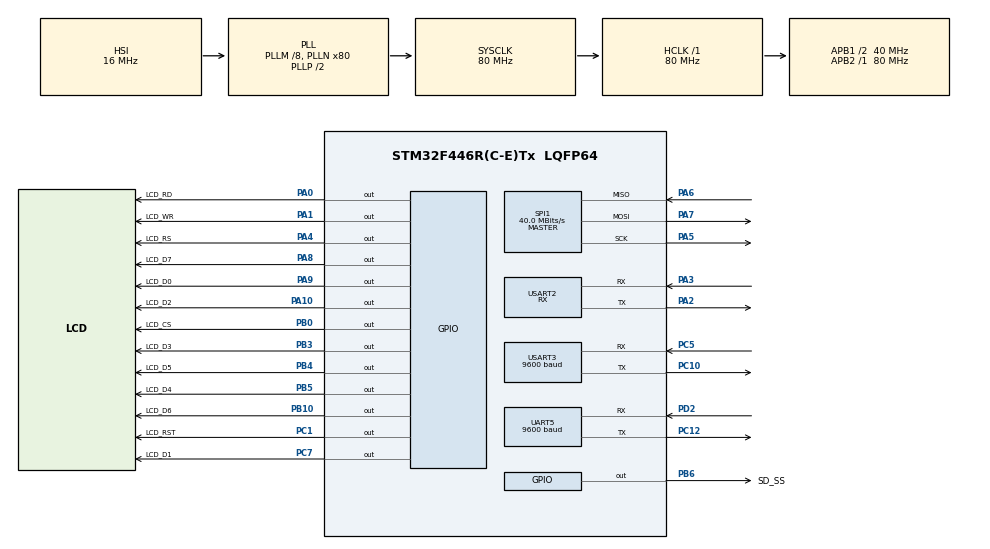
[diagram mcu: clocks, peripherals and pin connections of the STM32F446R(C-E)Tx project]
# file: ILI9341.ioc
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Dma.Request0=USART3_RX
Dma.Request1=USART2_RX
Dma.Request2=UART5_RX
Dma.UART5_RX.2.Direction=DMA_PERIPH_TO_MEMORY
Dma.UART5_RX.2.FIFOMode=DMA_FIFOMODE_DISABLE
Dma.UART5_RX.2.Instance=DMA1_Stream0
Dma.UART5_RX.2.MemDataAlignment=DMA_MDATAALIGN_BYTE
Dma.UART5_RX.2.MemInc=DMA_MINC_ENABLE
Dma.UART5_RX.2.Mode=DMA_CIRCULAR
Dma.UART5_RX.2.PeriphDataAlignment=DMA_PDATAALIGN_BYTE
Dma.UART5_RX.2.PeriphInc=DMA_PINC_DISABLE
Dma.UART5_RX.2.Priority=DMA_PRIORITY_LOW
Dma.USART2_RX.1.Direction=DMA_PERIPH_TO_MEMORY
Dma.USART2_RX.1.FIFOMode=DMA_FIFOMODE_DISABLE
Dma.USART2_RX.1.Instance=DMA1_Stream5
Dma.USART2_RX.1.MemDataAlignment=DMA_MDATAALIGN_BYTE
Dma.USART2_RX.1.MemInc=DMA_MINC_ENABLE
Dma.USART2_RX.1.Mode=DMA_NORMAL
Dma.USART2_RX.1.PeriphDataAlignment=DMA_PDATAALIGN_BYTE
Dma.USART2_RX.1.PeriphInc=DMA_PINC_DISABLE
Dma.USART2_RX.1.Priority=DMA_PRIORITY_LOW
Dma.USART3_RX.0.Direction=DMA_PERIPH_TO_MEMORY
Dma.USART3_RX.0.FIFOMode=DMA_FIFOMODE_DISABLE
Dma.USART3_RX.0.Instance=DMA1_Stream1
Dma.USART3_RX.0.MemDataAlignment=DMA_MDATAALIGN_BYTE
Dma.USART3_RX.0.MemInc=DMA_MINC_ENABLE
Dma.USART3_RX.0.Mode=DMA_CIRCULAR
Dma.USART3_RX.0.PeriphDataAlignment=DMA_PDATAALIGN_BYTE
Dma.USART3_RX.0.PeriphInc=DMA_PINC_DISABLE
Dma.USART3_RX.0.Priority=DMA_PRIORITY_LOW
FATFS._MAX_SS=4096
FATFS._USE_LFN=1
Mcu.Family=STM32F4
Mcu.Name=STM32F446R(C-E)Tx
Mcu.Package=LQFP64
NVIC.DMA1_Stream0_IRQn=true\:0\:0\:false\:false\:true\:false\:true\:true
NVIC.DMA1_Stream1_IRQn=true\:0\:0\:false\:false\:true\:false\:true\:true
NVIC.DMA1_Stream5_IRQn=true\:0\:0\:false\:false\:true\:false\:true\:true
NVIC.PriorityGroup=NVIC_PRIORITYGROUP_4
NVIC.USART3_IRQn=true\:0\:0\:false\:false\:true\:true\:true\:true
PA0-WKUP.GPIO_Label=LCD_RD
PA0-WKUP.GPIO_Speed=GPIO_SPEED_FREQ_HIGH
PA0-WKUP.Signal=GPIO_Output
PA1.GPIO_Label=LCD_WR
PA1.GPIO_Speed=GPIO_SPEED_FREQ_HIGH
PA1.Signal=GPIO_Output
PA10.GPIO_Label=LCD_D2
PA10.GPIO_Speed=GPIO_SPEED_FREQ_HIGH
PA10.Signal=GPIO_Output
PA13.Mode=Serial_Wire
PA13.Signal=SYS_JTMS-SWDIO
PA14.Mode=Serial_Wire
PA14.Signal=SYS_JTCK-SWCLK
PA2.Mode=Asynchronous
PA2.Signal=USART2_TX
PA3.Mode=Asynchronous
PA3.Signal=USART2_RX
PA4.GPIO_Label=LCD_RS
PA4.GPIO_Speed=GPIO_SPEED_FREQ_HIGH
PA4.Signal=GPIO_Output
PA5.Mode=Full_Duplex_Master
PA5.Signal=SPI1_SCK
PA6.Mode=Full_Duplex_Master
PA6.Signal=SPI1_MISO
PA7.Mode=Full_Duplex_Master
PA7.Signal=SPI1_MOSI
PA8.GPIO_Label=LCD_D7
PA8.GPIO_Speed=GPIO_SPEED_FREQ_HIGH
PA8.Signal=GPIO_Output
PA9.GPIO_Label=LCD_D0
PA9.GPIO_Speed=GPIO_SPEED_FREQ_HIGH
PA9.Signal=GPIO_Output
PB0.GPIO_Label=LCD_CS
PB0.GPIO_Speed=GPIO_SPEED_FREQ_HIGH
PB0.Signal=GPIO_Output
PB10.GPIO_Label=LCD_D6
PB10.GPIO_Speed=GPIO_SPEED_FREQ_HIGH
PB10.Signal=GPIO_Output
PB3.GPIO_Label=LCD_D3
PB3.GPIO_Speed=GPIO_SPEED_FREQ_HIGH
PB3.Signal=GPIO_Output
PB4.GPIO_Label=LCD_D5
PB4.GPIO_Speed=GPIO_SPEED_FREQ_HIGH
PB4.Signal=GPIO_Output
PB5.GPIO_Label=LCD_D4
PB5.GPIO_Speed=GPIO_SPEED_FREQ_HIGH
PB5.Signal=GPIO_Output
PB6.GPIO_Label=SD_SS
PB6.GPIO_Speed=GPIO_SPEED_FREQ_MEDIUM
PB6.PinState=GPIO_PIN_SET
PB6.Signal=GPIO_Output
PC1.GPIO_Label=LCD_RST
PC1.GPIO_Speed=GPIO_SPEED_FREQ_HIGH
PC1.Signal=GPIO_Output
PC10.Mode=Asynchronous
PC10.Signal=USART3_TX
PC12.Mode=Asynchronous
PC12.Signal=UART5_TX
PC5.Mode=Asynchronous
PC5.Signal=USART3_RX
PC7.GPIO_Label=LCD_D1
PC7.GPIO_Speed=GPIO_SPEED_FREQ_HIGH
PC7.Signal=GPIO_Output
PD2.Mode=Asynchronous
PD2.Signal=UART5_RX
PH0-OSC_IN.Mode=HSE-External-Oscillator
PH0-OSC_IN.Signal=RCC_OSC_IN
PH1-OSC_OUT.Mode=HSE-External-Oscillator
PH1-OSC_OUT.Signal=RCC_OSC_OUT
ProjectManager.HeapSize=0x200
ProjectManager.StackSize=0x400
ProjectManager.TargetToolchain=STM32CubeIDE
RCC.AHBFreq_Value=80000000
RCC.APB1CLKDivider=RCC_HCLK_DIV2
RCC.APB1Freq_Value=40000000
RCC.APB1TimFreq_Value=80000000
RCC.APB2Freq_Value=80000000
RCC.APB2TimFreq_Value=80000000
RCC.CortexFreq_Value=80000000
RCC.HCLKFreq_Value=80000000
RCC.PLLM=8
RCC.PLLN=80
RCC.SYSCLKFreq_VALUE=80000000
RCC.SYSCLKSource=RCC_SYSCLKSOURCE_PLLCLK
RCC.USBFreq_Value=80000000
RCC.VCOOutputFreq_Value=160000000
SPI1.CalculateBaudRate=40.0 MBits/s
SPI1.Direction=SPI_DIRECTION_2LINES
SPI1.Mode=SPI_MODE_MASTER
SPI1.VirtualType=VM_MASTER
UART5.BaudRate=9600
UART5.Mode=MODE_TX_RX
UART5.VirtualMode=Asynchronous
USART2.Mode=MODE_RX
USART2.VirtualMode=VM_ASYNC
USART3.BaudRate=9600
USART3.Mode=MODE_TX_RX
USART3.VirtualMode=VM_ASYNC
VP_FATFS_VS_Generic.Mode=User_defined
board=custom

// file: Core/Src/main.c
/* USER CODE BEGIN Header */
/**
 ******************************************************************************
 * @file           : main.c
 * @brief          : Main program body
 ******************************************************************************
 * @attention
 *
 * Copyright (c) 2024 STMicroelectronics.
 * All rights reserved.
 *
 * This software is licensed under terms that can be found in the LICENSE file
 * in the root directory of this software component.
 * If no LICENSE file comes with this software, it is provided AS-IS.
 *
 ******************************************************************************
 */
/* USER CODE END Header */
#include "main.h"
#include "fatfs.h"

/* USER CODE BEGIN Includes */
#include "ili9341.h"
#include "fatfs_sd.h"
#include "string.h"
#include "stdio.h"

#include <stdlib.h>  // Para rand() y srand()
#include <time.h>    // Para time()
/* USER CODE END Includes */

/* USER CODE BEGIN PD */
#define BUF_LEN 2048
/* USER CODE END PD */

SPI_HandleTypeDef hspi1;

UART_HandleTypeDef huart5;
UART_HandleTypeDef huart2;
UART_HandleTypeDef huart3;
DMA_HandleTypeDef hdma_uart5_rx;
DMA_HandleTypeDef hdma_usart2_rx;
DMA_HandleTypeDef hdma_usart3_rx;

/* USER CODE BEGIN PV */
//extern uint8_t FONDOINICIO[];
extern DIVISIONBAJA [];
extern DIVISION [];
extern TRACK [];

extern LOGOEX [];
extern OPCION1[];
extern OPCION2 [];
extern OPCION3 [];
extern PUNTERO [];

extern uint8_t Jug2 [];
extern uint8_t Jug1 [];
extern uint8_t movjug1 [];
extern uint8_t movjug2 [];
extern uint8_t movjug3 [];
extern uint8_t movjug4 [];
extern uint8_t colisionjug1 [];
extern uint8_t colisionjug2 [];
extern uint8_t colisionjug3 [];
extern uint8_t colisionjug4 [];
extern uint8_t derrapejug1 [];
extern uint8_t derrapejug2 [];
extern uint8_t derrapejug3 [];
extern uint8_t derrapejug4 [];
extern uint8_t SELECTOROFF [];
extern uint8_t SELECTORONJ1 [];
extern uint8_t SELECTORONJ2 [];
extern uint8_t SELECTOROFFJ1[];
extern uint8_t personaje1 [];
extern uint8_t personaje2 [];
extern uint8_t personaje3 [];
extern uint8_t personaje4 [];
extern uint8_t AVISOJUGADOR [];

extern uint8_t exciteinicio [];
extern uint8_t DESERT [];
extern uint8_t LOGONINTENDO [];

extern uint8_t ENEMY[];
extern uint8_t BOOSTER[];

extern uint8_t ICONJ1[];
extern uint8_t LETRAJ1[];
extern uint8_t ICONJ2[];
extern uint8_t LETRAJ2[];
extern uint8_t MURO[];
extern uint8_t GUSANOJ1[];
extern uint8_t GUSANOJ2[];
extern uint8_t CAMEL[];

extern uint8_t POKEY [];
extern uint8_t giroPOKEY [];

//Ganadores
extern uint8_t podio[];
extern uint8_t trofeo[];
extern uint8_t aviso1[];
extern uint8_t aviso2[];

uint8_t musica[0]; //Buffer para la musica vía DMA envio
uint8_t data[];
uint8_t data2[];

int inicio = 5;
int start = 0;
int unico = 1;

int loser1 = 0;
int loser2 = 0;
int win = 0;
int pintjueg = 0; //Pintar una ves pantalla juego
uint8_t opcion = 5;

int bandera = 1;

//int rect_x = 90, rect_y = 60;
int rect_width = 20, rect_height = 20;

/*int y_limit_min = 10, y_limit_max = 200;*/
int move_step = 10;
int move_step1 = 10;

int jug_width = 32, jug_height = 31;

// Coordenadas iniciales del personaje Jug1
int jug_x = 150, jug_y = 200;

// Límite de movimiento en Y para Jug2
int y_limit_min = 140, y_limit_max = 210;

//Límite de movimiento en Y para Jug1
int y1_limit_min = 40, y1_limit_max = 100;

int green_rect_x = 150, green_rect_y = 150;
int green_rect_width = 20, green_rect_height = 20;

//Variables de movimiento ENEMY en X
int z = 300;
int u = 300;

int selector1_pos = 1; // Posición del selector 1 (Jugador 1), valores entre 1 y 4.
int selector2_pos = 4; // Posición del selector 2 (Jugador 2), valores entre 1 y 4.
uint8_t* seleccionJug1 = movjug1;
uint8_t* seleccionJug2 = movjug2;
uint8_t* caida1 = colisionjug1;
uint8_t* caida2 = colisionjug2;

uint32_t last_time_cactus = 0;

volatile uint8_t received_char = 0;  // Variable para almacenar el último carácter recibido
volatile uint8_t received_char2 = 0;
volatile uint8_t new_command = 0;  // Bandera para indicar si se recibió un nuevo comando

int colision = 0;
int colision2 = 0;

int cactus_pos = 300;  // Posición inicial del cactus
int cactus_state = 0;  // 0: inactivo, 1: activo y moviéndose
int cactus_timer = 0;  // Temporizador simple para el retardo entre pasos

int c = 0; // Para manejar el contador horizontal
int m = 0;

int random_number;

//Selectores para mountruos
int selector1 = 0;
int selector2 = 0;

int tiempo = 0;
int tiempo1 = 0;
int tiempo2 = 0;
int delay_i;
int last_time_i = 50;

int y_pos = 200; // Posición inicial del personaje en el eje Y
int anima1 = 0; // Para controlar el índice de animación
int anima2 = 0;

int cactus = 0;

int boom1 = 0;
int boom2 = 0;

const int sprite_width = 34;  // Ancho del sprite
const int sprite_height = 37; // Altura del sprite
int sprite_x = 50;
int sprite_y = 150;

const int sprite_width1 = 34;
const int sprite_height1 = 37;

int sprite_x1 = 50;
int sprite_y1 = 50;

int move1 = 0; //Bandera de movimiento sprite
int move2 = 0;
// Variable para mostrar en pantalla
char Pant[20];

// Definir coordenadas Y para las opciones
int OPCION1_Y = 130;
int OPCION2_Y = 162;
int OPCION3_Y = 195;

// Definir tamaño y posición del puntero
int PUNTERO_X = 80;
int PUNTERO_ANCHO = 14;
int PUNTERO_ALTO = 15;

uint8_t seleccion_actual = 0;

//SD control
FATFS fs;
FATFS *pfs;
FIL fil;
FRESULT fres;
DWORD fre_clust;
uint32_t totalSpace, freeSpace;
char buffer[16000]; //Buffer para leer 10640 caracteres de personaje1.txt
uint8_t leer;

#define IMAGE_SIZE 16000 // Ajusta el tamaño

uint8_t image[IMAGE_SIZE];  // Variable para almacenar los datos de la imagen
/* USER CODE END PV */

void SystemClock_Config(void);
static void MX_GPIO_Init(void);
static void MX_DMA_Init(void);
static void MX_SPI1_Init(void);
static void MX_USART3_UART_Init(void);
static void MX_UART5_Init(void);
static void MX_USART2_UART_Init(void);
/* USER CODE BEGIN PFP */
void transmit_uart(char *string);
/* USER CODE END PFP */

/* USER CODE BEGIN 0 */

int load_image_from_sd_to_play(const char* filename) {
    FIL fil;
    UINT bytes_read;
    FRESULT fres;

    // Abrir el archivo desde la SD
    fres = f_open(&fil, filename, FA_READ);
    if (fres != FR_OK) {
      //  transmit_uart("Error al abrir el archivo en la SD\n");
        return 0;  // Error al abrir el archivo
    }

    // Leer los datos del archivo y almacenarlos en la variable play
    fres = f_read(&fil, image, IMAGE_SIZE, &bytes_read);
    if (fres != FR_OK || bytes_read == 0) {
      //  transmit_uart("Error al leer la imagen desde la SD\n");
        f_close(&fil);
        return 0;  // Error al leer el archivo
    }

    // Cerrar el archivo
    f_close(&fil);
   // transmit_uart("Imagen cargada correctamente desde la SD a la variable play\n");
    return 1;  // Éxito
}

// Función para actualizar los selectores en la pantalla.
void actualizar_selectores() {
    // Limpiar la pantalla
    LCD_Bitmap(25, 70, 63, 17, SELECTOROFFJ1);
    LCD_Bitmap(95, 70, 63, 17, SELECTOROFFJ1);
    LCD_Bitmap(165, 70, 63, 17, SELECTOROFFJ1);
    LCD_Bitmap(235, 70, 63, 17, SELECTOROFFJ1);

    LCD_Bitmap(25, 131, 63, 17, SELECTOROFFJ1);
    LCD_Bitmap(95, 131, 63, 17, SELECTOROFFJ1);
    LCD_Bitmap(165, 131, 63, 17, SELECTOROFFJ1);
    LCD_Bitmap(235, 131, 63, 17, SELECTOROFFJ1);

    // Dibujar selector del Jugador 1
    switch (selector1_pos) {
        case 1:
            LCD_Bitmap(25, 70, 63, 17, SELECTORONJ1);
            break;
        case 2:
            LCD_Bitmap(95, 70, 63, 17, SELECTORONJ1);
            break;
        case 3:
            LCD_Bitmap(165, 70, 63, 17, SELECTORONJ1);
            break;
        case 4:
            LCD_Bitmap(235, 70, 63, 17, SELECTORONJ1);
            break;
    }

    // Dibujar selector del Jugador 2
    switch (selector2_pos) {
        case 1:
            LCD_Bitmap(25, 131, 63, 17, SELECTORONJ2);
            break;
        case 2:
            LCD_Bitmap(95, 131, 63, 17, SELECTORONJ2);
            break;
        case 3:
            LCD_Bitmap(165, 131, 63, 17, SELECTORONJ2);
            break;
        case 4:
            LCD_Bitmap(235, 131, 63, 17, SELECTORONJ2);
            break;
    }
}

// Función para manejar los comandos de entrada
void mover_colores(char comando) {
    switch (comando) {
        case 'a': // Mover selector 1 a la izquierda
            if (selector1_pos > 1) {
                selector1_pos--;
            }
            break;
        case 'b': // Mover selector 1 a la derecha
            if (selector1_pos < 4) {
                selector1_pos++;
            }
            break;
        case 'f': // Mover selector 2 a la izquierda
            if (selector2_pos > 1) {
                selector2_pos--;
            }
            break;
        case 'e': // Mover selector 2 a la derecha
            if (selector2_pos < 4) {
                selector2_pos++;
            }
            break;
    }

    // Actualizar la pantalla después de mover el selector
    actualizar_selectores();
}

void dibujar_puntero(uint8_t y_coord) {
    // Dibuja el puntero en la posición `y_coord` en la pantalla.
    LCD_Bitmap(80, y_coord, 14, 15, PUNTERO);
}

void borrar_puntero(uint8_t y_coord) {
    // Borra el puntero en la posición `y_coord` de la pantalla.
    FillRect(80, y_coord, 14, 15, 0x2817);
}

// Función para mover el puntero hacia arriba
void mover_puntero_arriba(void) {
    if (seleccion_actual == 2) {
        // Borrar el puntero en la posición actual (segunda opción)
        borrar_puntero(OPCION2_Y);

        // Cambiar a la primera opción
        seleccion_actual = 1;

        // Dibujar el puntero en la nueva posición (primera opción)
        dibujar_puntero(OPCION1_Y);
    }
}

// Función para mover el puntero hacia abajo
void mover_puntero_abajo(void) {
    if (seleccion_actual == 1) {
        // Borrar el puntero en la posición actual (primera opción)
        borrar_puntero(OPCION1_Y);

        // Cambiar a la segunda opción
        seleccion_actual = 2;

        // Dibujar el puntero en la nueva posición (segunda opción)
        dibujar_puntero(OPCION2_Y);
    }
}

int check_collision(int jug_x, int jug_y, int green_x, int green_y) {
    return (jug_x < green_x + green_rect_width &&
            jug_x + jug_width > green_x &&
            jug_y < green_y + green_rect_height &&
            jug_y + jug_height > green_y);
}

void clear_previous_sprite(int x, int y, int width, int height) {
    // Limpia la posición anterior del sprite dibujando un rectángulo blanco
    FillRect(x, y, width, height, 0xEDCC);  // Color blanco (0xFFFF) para limpiar
}

void move_sprite_up() {
    // Limpiar la posición actual del sprite antes de moverlo
    clear_previous_sprite(sprite_x, sprite_y, sprite_width, sprite_height);

    // Verificar si no se sale del límite superior antes de mover
    if (sprite_y - move_step >= y_limit_min) {
        sprite_y -= move_step;  // Mover hacia arriba
    }

    // Redibujar el sprite en la nueva posición
    LCD_Sprite(sprite_x, sprite_y, sprite_width, sprite_height, seleccionJug1, 2, anima1, 0, 1);  // Dibuja el sprite en su nueva posición
    //LCD_Bitmap(sprite_x, sprite_y, sprite_width, sprite_height, Jug1);
    if (check_collision(sprite_x, sprite_y, z, 150)) { //check_collision(sprite_x, sprite_y, green_rect_x, green_rect_y
        	colision++;
    }

    // Mostrar el contador de colisiones en pantalla
    /*sprintf(Pant, "Colisiones: %d", colision);
    LCD_Print(Pant, 20, 100, 1, 0x001F, 0xEDCC);*/  // Imprimir colisiones en la pantalla

}

void move_sprite_down() {
    // Limpiar la posición actual del sprite antes de moverlo
    clear_previous_sprite(sprite_x, sprite_y, sprite_width, sprite_height);

    // Verificar si no se sale del límite inferior antes de mover
    if (sprite_y + move_step + sprite_height <= y_limit_max) {
        sprite_y += move_step;  // Mover hacia abajo
    }

    // Redibujar el sprite en la nueva posición
    LCD_Sprite(sprite_x, sprite_y, sprite_width, sprite_height, seleccionJug1, 2, anima1, 0, 1);  // Dibuja el sprite en su nueva posición

    //LCD_Bitmap(sprite_x, sprite_y, sprite_width, sprite_height, Jug1);
    if (check_collision(sprite_x, sprite_y, z, 200)) {
    	colision++;
    }

    // Mostrar el contador de colisiones en pantalla
    /*sprintf(Pant, "Colisiones: %d", colision);
    LCD_Print(Pant, 20, 100, 1, 0x001F, 0xEDCC);  // Imprimir colisiones en la pantalla*/
}

void move_sprite_up1() {
    // Limpiar la posición actual del sprite antes de moverlo
    clear_previous_sprite(sprite_x1, sprite_y1, sprite_width1, sprite_height1);

    // Verificar si no se sale del límite superior antes de mover
    if (sprite_y1 - move_step1 >= y1_limit_min) {
        sprite_y1 -= move_step1;  // Mover hacia arriba
    }

    // Redibujar el sprite en la nueva posición
    LCD_Sprite(sprite_x1, sprite_y1, sprite_width1, sprite_height1, seleccionJug2, 2, anima2, 0, 1);  // Dibuja el sprite en su nueva posición
    //LCD_Bitmap(sprite_x, sprite_y, sprite_width, sprite_height, Jug1);
    if (check_collision(sprite_x1, sprite_y1, z, 50)) { //check_collision(sprite_x, sprite_y, green_rect_x, green_rect_y
        	colision2++;
    }

    // Mostrar el contador de colisiones en pantalla
    /*sprintf(Pant, "Colisiones: %d", colision);
    LCD_Print(Pant, 20, 100, 1, 0x001F, 0xEDCC);*/  // Imprimir colisiones en la pantalla

}

void move_sprite_down1() {
    // Limpiar la posición actual del sprite antes de moverlo
    clear_previous_sprite(sprite_x1, sprite_y1, sprite_width1, sprite_height1);

    // Verificar si no se sale del límite inferior antes de mover
    if (sprite_y1 + move_step1 + sprite_height1 <= y1_limit_max) {
        sprite_y1 += move_step1;  // Mover hacia abajo
    }

    // Redibujar el sprite en la nueva posición
    LCD_Sprite(sprite_x1, sprite_y1, sprite_width1, sprite_height1, seleccionJug2, 2, anima2, 0, 1);  // Dibuja el sprite en su nueva posición

    //LCD_Bitmap(sprite_x, sprite_y, sprite_width, sprite_height, Jug1);
    if (check_collision(sprite_x1, sprite_y1, z, 50)) {
    	colision2++;
    }

    // Mostrar el contador de colisiones en pantalla
    /*sprintf(Pant, "Colisiones: %d", colision);
    LCD_Print(Pant, 20, 100, 1, 0x001F, 0xEDCC);  // Imprimir colisiones en la pantalla*/
}

//Función para leer de la SD

/* USER CODE END 0 */

int main(void)
{

  /* USER CODE BEGIN 1 */
	//srand(time(NULL));
  /* USER CODE END 1 */

  /* MCU Configuration--------------------------------------------------------*/

  /* Reset of all peripherals, Initializes the Flash interface and the Systick. */
  HAL_Init();

  /* Configure the system clock */
  SystemClock_Config();

  /* Initialize all configured peripherals */
  MX_GPIO_Init();
  MX_DMA_Init();
  MX_SPI1_Init();
  MX_USART3_UART_Init();
  MX_FATFS_Init();
  MX_UART5_Init();
  MX_USART2_UART_Init();
  /* USER CODE BEGIN 2 */

  	//HAL_UART_Transmit_DMA(&huart3, musica, sizeof(musica)); //Envia los datos del buffer musica via RX en DMA
    HAL_UART_Receive_DMA(&huart3, data, 1); //Recibir comandos via uart en DMA
    HAL_UART_Receive_DMA(&huart5, data2, 1);
    HAL_UART_Receive_DMA(&huart2, data, 1); //Comentar luego de pruebas
  	//HAL_UART_Receive_IT(&huart3, data, 1);
	LCD_Init();

	void transmit_uart(char *string){
		  uint8_t len = strlen(string);
		  HAL_UART_Transmit(&huart5, (uint8_t*) string, len, 200); //200
	}

	void transmit_uart2(char *string){
			  uint8_t len = strlen(string);
			  HAL_UART_Transmit(&huart3, (uint8_t*) string, len, 200); //200
	}

	//leer_archivo();

	/*fres = f_mount(&fs, "/", 0);
	if(fres == FR_OK){
		//LCD_Print("Micro SD card is mounted succesfully!", 20, 50, 1, 0x001F, 0xCAB9);
	}else if(fres != FR_OK){
		//LCD_Print("Micro SD card's mount error!", 20, 100, 1, 0x001F, 0xCAB9);
	}
	fres = f_open(&fil, "change1.txt", FA_READ);
	if(fres == FR_OK){
		//LCD_Print("File opened for reading.", 20, 100, 1, 0x001F, 0xCAB9);
		leer = 1;
	}else if(fres != FR_OK){
		//LCD_Print("File was not opened for reading!", 30, 100, 1, 0x001F, 0xCAB9);
		leer = 0;
	}
	if (leer == 1){
		while(f_gets(buffer, sizeof(buffer), &fil)){
				//Leer valores iniciando en 0 hasta llegar a , o espacio y luego concatenar todos los datos en el buffer
		}
		leer = 0;
	}
	fres = f_close(&fil);
	if(fres == FR_OK){
		//LCD_Print("The file is closed", 30, 150, 1, 0x001F, 0xCAB9);
	}else if(fres != FR_OK){
		//LCD_Print("The file was not closed", 30, 150, 1, 0x001F, 0xCAB9);
	}
	f_mount(NULL,"",1);
	LCD_Bitmap(10, 60, 35, 38, buffer);
	memset(buffer, '\0', 16000);*/

	uint8_t imageBuffer[8000];

	/*fres = f_mount(&fs, "/", 0);
	if (fres == FR_OK) {
	    // Montaje correcto de la tarjeta SD
	} else {
	    // Error al montar la tarjeta SD
	}

	fres = f_open(&fil, "change1.txt", FA_READ);
	if (fres == FR_OK) {
	    // Archivo abierto correctamente para lectura
	    leer = 1;
	} else {
	    // Error al abrir el archivo
	    leer = 0;
	}

	if (leer == 1) {
	    char buffer[16000];  // Buffer para leer datos del archivo
	    char temp[5];        // Para almacenar temporalmente cada "0xXX"
	    int index = 0;       // �?ndice para guardar el valor en el buffer binario
	    uint8_t imageBuffer[16000]; // Buffer de imagen en formato binario
	    UINT bytesLeidos;

	    while (f_gets(buffer, sizeof(buffer), &fil)) {
	        char *ptr = buffer;
	        while (*ptr != '\0') {
	            if (*ptr == '0' && *(ptr + 1) == 'x') {
	                // Extrae los dos caracteres después de "0x"
	                temp[0] = *(ptr + 2);
	                temp[1] = *(ptr + 3);
	                temp[2] = '\0';

	                // Convierte la cadena "XX" en un valor hexadecimal
	                uint8_t value = (uint8_t)strtol(temp, NULL, 16);
	                imageBuffer[index++] = value;

	                // Aumenta el puntero para saltar los "0xXX"
	                ptr += 4;
	            } else {
	                // Avanza el puntero para ignorar comas, espacios u otros caracteres
	                ptr++;
	            }
	        }
	    }
	    leer = 0;
	}

	fres = f_close(&fil);
	if (fres == FR_OK) {
	    // Archivo cerrado correctamente
	} else {
	    // Error al cerrar el archivo
	}

	f_mount(NULL, "", 1);*/

	/*fres = f_mount(&fs, "/", 0);
	if (fres == FR_OK) {
	    // Tarjeta SD montada correctamente
	} else {
	    // Error al montar la tarjeta SD
	}

	fres = f_open(&fil, "change1.txt", FA_READ);
	if (fres == FR_OK) {
	    // Archivo abierto correctamente
	    leer = 1;
	} else {
	    // Error al abrir el archivo
	    leer = 0;
	}

	if (leer == 1) {
	    char buffer[16000];  // Buffer para leer datos del archivo
	    char temp[5];        // Buffer temporal para almacenar cada "0xXXXX"
	    int index = 0;       // �?ndice para guardar el valor en el buffer binario
	    uint16_t imageBuffer[8000]; // Buffer de imagen en formato binario RGB565 (16 bits por píxel)
	    UINT bytesLeidos;
	    int dataCount = 0;   // Contador de datos procesados

	    // Limpiar buffers antes de usar
	    memset(buffer, 0, sizeof(buffer));
	    memset(imageBuffer, 0, sizeof(imageBuffer));

	    while (f_gets(buffer, sizeof(buffer), &fil)) {
	        char *ptr = buffer;
	        while (*ptr != '\0') {
	            if (*ptr == '0' && *(ptr + 1) == 'x') {
	                // Extrae los 4 caracteres después de "0x"
	                temp[0] = *(ptr + 2);
	                temp[1] = *(ptr + 3);
	                temp[2] = *(ptr + 4);
	                temp[3] = *(ptr + 5);
	                temp[4] = '\0';

	                // Convierte la cadena "XXXX" en un valor hexadecimal de 16 bits
	                uint16_t colorValue = (uint16_t)strtol(temp, NULL, 16);

	                // Guardar el valor en el buffer de la imagen
	                imageBuffer[index++] = colorValue;
	                dataCount++;  // Contar el número de valores leídos

	                // Avanza el puntero para saltar los "0xXXXX"
	                ptr += 6;
	            } else {
	                // Ignorar otros caracteres (coma, espacios, etc.)
	                ptr++;
	            }

	            // Evitar sobrepasar el tamaño del buffer
	            if (index >= sizeof(imageBuffer) / sizeof(imageBuffer[0])) {
	                break;
	            }
	        }

	        // Verificar si alcanzamos el tamaño esperado de la imagen
	        if (index >= sizeof(imageBuffer) / sizeof(imageBuffer[0])) {
	            break;
	        }
	    }

	    // Verificar que se leyeron suficientes datos
	    if (dataCount < 8000) {
	        // Error: no se leyeron suficientes datos
	        // Aquí puedes imprimir un mensaje de error en tu LCD o serie
	        // LCD_Print("Error: No se leyeron suficientes datos.", 10, 150, 1, 0xF800, 0xFFFF);
	    } else {
	        // Datos suficientes leídos
	    }

	    leer = 0;
	}

	fres = f_close(&fil);
	if (fres == FR_OK) {
	    // Archivo cerrado correctamente
	} else {
	    // Error al cerrar el archivo
	}

	f_mount(NULL, "", 1);*/

	// Muestra la imagen desde el buffer de imagen binario
	// Ajusta las dimensiones según el tamaño de tu imagen (ejemplo 160x100)

	LCD_Clear(0xEE93);

	LCD_Bitmap(70, 35, 180, 68, exciteinicio);
	LCD_Bitmap(45, 105, 234, 45, DESERT);
	LCD_Bitmap(15, 200, 201, 22, LOGONINTENDO);

	//Funciona activar musica
	//transmit_uart('1');

  /* USER CODE END 2 */

  /* Infinite loop */
  /* USER CODE BEGIN WHILE */
	while (1) {

		if(received_char == 'a' && unico == 1){
			start = 1;
			unico = 0;
			received_char = 'o';
		}
		if(start == 1){
			LCD_Clear(0x2817);
			LCD_Bitmap(53, 25, 214, 85, LOGOEX);
			LCD_Bitmap(110, 130, 98, 12, OPCION1);
			LCD_Bitmap(110, 162, 142, 13, OPCION2);
			//LCD_Bitmap(110, 195, 84, 11, OPCION3);
			LCD_Bitmap(80, 130, 14, 15, PUNTERO);
			start = 0;
			inicio = 3;
			seleccion_actual = 1;
		}
		if(inicio == 3 && received_char != new_command){ //
			//HAL_Delay(200);
			if(received_char == 'd'){
				mover_puntero_arriba();
				received_char = 'o';
			}
			else if(received_char == 'c'){
				mover_puntero_abajo();
				received_char = 'o';
			}

			new_command == received_char;
		}

		if(received_char == 'a' && seleccion_actual == 1){
			inicio = 0;
			seleccion_actual = 0;
			pintjueg = 1;
			received_char = 'o';
		}
		if(received_char == 'a' && seleccion_actual == 2){
			inicio = 1;
			seleccion_actual = 0;
			pintjueg = 1;
			received_char = 'o';
		}
		if(received_char == 'a' && seleccion_actual == 3){
			inicio = 2;
			seleccion_actual = 0;
			pintjueg = 1;
			received_char = 'o';
		}

		switch (inicio){
			case 0:
				//transmit_uart('1');
				if(pintjueg == 1){
					LCD_Clear(0xEDCC);

					LCD_Bitmap(0, 110, 42,15, MURO);
					LCD_Bitmap(40, 110, 42,15, MURO);
					LCD_Bitmap(80, 110, 42,15, MURO);
					LCD_Bitmap(120, 110, 42,15, MURO);
					LCD_Bitmap(160, 110, 42,15, MURO);
					LCD_Bitmap(200, 110, 42,15, MURO);
					LCD_Bitmap(240, 110, 42,15, MURO);
					LCD_Bitmap(280, 110, 42,15, MURO);

					/*LCD_Bitmap(5, 5, 22,19, ICONJ1);
					LCD_Bitmap(9, 8, 12,12, LETRAJ1);

					LCD_Bitmap(5, 215, 22,19, ICONJ2);
					LCD_Bitmap(7, 218, 16,12, LETRAJ2);*/

					LCD_Bitmap(5, 215, 22,19, ICONJ1);
					LCD_Bitmap(9, 218, 12,12, LETRAJ1);

					LCD_Bitmap(5, 5, 22,19, ICONJ2);
					LCD_Bitmap(7, 8, 16,12, LETRAJ2);

					//HEALTH BAR J2
					FillRect(26, 9, 35, 10, 0xBBE0);
					FillRect(61, 9, 35, 10, 0xBBE0);
					FillRect(96, 9, 35, 10, 0xBBE0);
					FillRect(131, 9, 35, 10, 0xBBE0);

					//HEALTH BAR J2
					FillRect(26, 219, 35, 10, 0x321B);
					FillRect(61, 219, 35, 10, 0x321B);
					FillRect(96, 219, 35, 10, 0x321B);
					FillRect(131, 219, 35, 10, 0x321B);
					pintjueg = 0;

				}

				//musica[0] = 'b';

				tiempo1++;
				tiempo2++;

				if(selector1 == 0 && tiempo1 >= last_time_i){
					clear_previous_sprite(z, 130, 22, 25);
					int anima1 = (z / 4) % 4;  // Animación para el primer monstruo
										// Dibujar los monstruos en la pantalla
					LCD_Sprite(z, 130, 21, 24, giroPOKEY, 4, anima1, 0, 1); // Primer monstruo
										// Incrementar las coordenadas para que los monstruos se muevan
					z--; // Incremento en X para el primer monstruo
					if (check_collision(sprite_x, sprite_y, z, 150)) {
						colision2++;
						boom2 = 1;
						// Borrar el cactus cuando hay colisión
						FillRect(z, 130, 22, 25, 0xEDCC);
						z = 300;
						FillRect(z, 130, 22, 25, 0xEDCC); // Rellenar con color de fondo
						selector1 = 1;
						//musica[0] = 'c';
						//transmit_uart('3');
						//transmit_uart2("1");
					}
					if (z == 0){
						FillRect(z, 130, 22, 25, 0xEDCC); // Reiniciar la posición del enemigo
						z = 300;
						selector1 = 1;
						//tiempo = 0;
						tiempo1 = 0;
					}
				}

				if(selector2 == 0 && tiempo2 >= last_time_i){
					clear_previous_sprite(u, 30, 22, 25);
					int anima3 = (u / 4) % 4;  // Animación para el segundo monstruo
					LCD_Sprite(u, 30, 21, 24, giroPOKEY, 4, anima3, 0, 1);      // Segundo monstruo
					u--;
					if(check_collision(sprite_x1, sprite_y1, u, 30)){
						colision++;
						boom1 = 1;
						FillRect(u, 30, 22, 25, 0xEDCC);
						u = 300;
						FillRect(u, 30, 22, 25, 0xEDCC);
						selector2 = 1;
						//musica[0] = 'c';
						//transmit_uart('3');
						//transmit_uart2("1");
					}
					if(u == 0){
						FillRect(u, 30, 22, 25, 0xEDCC);
						u = 300;
						selector2 = 1;
						tiempo2 = 0;
					}
				}

				if(selector1 == 1 && tiempo1 >= last_time_i){
					clear_previous_sprite(z, 180, 35, 25);
					int anima1 = (z / 3) % 3;  // Animación para el primer monstruo
					// Dibujar los monstruos en la pantalla
					LCD_Sprite(z, 180, 34, 25, CAMEL, 3, anima1, 0, 1); // Primer monstruo
					// Incrementar las coordenadas para que los monstruos se muevan
					z--; // Incremento en X para el primer monstruo
					if (check_collision(sprite_x, sprite_y, z, 180)) {
						colision2++;
						boom2 = 1;
						// Borrar el cactus cuando hay colisión
						FillRect(z, 180, 34, 25, 0xEDCC);
						z = 300;
						FillRect(z, 180, 34, 25, 0xEDCC); // Rellenar con color de fondo
						selector1 = 0;
						//musica[0] = 'c';
						//transmit_uart('3');
						//transmit_uart2("1");
					}
					if (z == 0){
						FillRect(z, 180, 34, 25, 0xEDCC); // Reiniciar la posición del enemigo
						z = 300;
						selector1 = 0;
						tiempo1 = 0;
					}
				}

				if(selector2 == 1 && tiempo2 >= last_time_i){
					clear_previous_sprite(u, 80, 35, 25);
					int anima3 = (u / 3) % 3;  // Animación para el segundo monstruo
					LCD_Sprite(u, 80, 34, 25, CAMEL, 3, anima3, 0, 1);      // Segundo monstruo
					u--;
					if(check_collision(sprite_x1, sprite_y1, u, 70)){
						colision++;
						boom1 = 1;
						FillRect(u, 80, 34, 25, 0xEDCC);
						u = 300;
						FillRect(u, 80, 34, 25, 0xEDCC);
						selector2 = 0;
						//musica[0] = 'c';
						//transmit_uart('3');
						//transmit_uart2("1");
					}
					if(u == 0){
						FillRect(u, 80, 34, 25, 0xEDCC);
						u = 300;
						selector2 = 0;
						tiempo2 = 0;
					}
				}

				if(colision == 1){
					if(boom1 == 1){
						for(int x = 0; x < 80; x++){
							HAL_Delay(15);
							int anima = (x/35)%3;
							LCD_Sprite(sprite_x1, sprite_y1, 37, 37, caida2, 3, anima, 0, 1);
						}
						boom1 = 0;
					}
					LCD_Sprite(sprite_x1, sprite_y1, 34, 37, seleccionJug2, 2, anima2, 0, 1);
					FillRect(131, 9, 35, 10, 0xEDCC);
				}else if(colision == 2){
					if(boom1 == 1){
						for(int x = 0; x < 80; x++){
							HAL_Delay(15);
							int anima = (x/35)%3;
							LCD_Sprite(sprite_x1, sprite_y1, 37, 37, caida2, 3, anima, 0, 1);
						}
						boom1 = 0;
					}
					LCD_Sprite(sprite_x1, sprite_y1, 34, 37, seleccionJug2, 2, anima2, 0, 1);
					FillRect(96, 9, 35, 10, 0xEDCC);
				}else if(colision == 3){
					if(boom1 == 1){
						for(int x = 0; x < 80; x++){
							HAL_Delay(15);
							int anima = (x/35)%3;
							LCD_Sprite(sprite_x1, sprite_y1, 37, 37, caida2, 3, anima, 0, 1);
						}
						boom1 = 0;
					}
					LCD_Sprite(sprite_x1, sprite_y1, 34, 37, seleccionJug2, 2, anima2, 0, 1);
					FillRect(61, 9, 35, 10, 0xEDCC);
				}else if(colision == 4){
					if(boom1 == 1){
						for(int x = 0; x < 80; x++){
							HAL_Delay(15);
							int anima = (x/35)%3;
							LCD_Sprite(sprite_x1, sprite_y1, 37, 37, caida2, 3, anima, 0, 1);
						}
						boom1 = 0;
					}
					LCD_Sprite(sprite_x1, sprite_y1, 34, 37, seleccionJug2, 2, anima2, 0, 1);
					FillRect(26, 9, 35, 10, 0xEDCC);
					loser2 = 1;
				}

				if(colision2 == 1){

					if(boom2 == 1){
						/*int x = 0;
						x++;
						int anima = (x/50)%3;
						LCD_Sprite(sprite_x, sprite_y, 31, 32, colijug1, 3, anima, 0, 1);
						if (x >= 320 - 32) {
							x = 0; // Restablece x para futuras ejecuciones
						}*/
						for(int x = 0; x < 80; x++){
							HAL_Delay(15);
							int anima = (x/35)%3;
							//LCD_Sprite(sprite_x, sprite_y, 31, 32, colisionjug1, 3, anima, 0, 1);
							LCD_Sprite(sprite_x, sprite_y, 37, 37, caida1, 3, anima, 0, 1);
						}
						boom2 = 0;
					}
					//LCD_Bitmap(sprite_x, sprite_y, sprite_width, sprite_height, Jug1);
					LCD_Sprite(sprite_x, sprite_y, 34, 37, seleccionJug1, 2, anima1, 0, 1);
					FillRect(131, 219, 35, 10, 0xEDCC);

				}else if(colision2 == 2){
					if(boom2 == 1){
						/*int x = 0;
						x++;
						int anima = (x/50)%3;
						LCD_Sprite(sprite_x, sprite_y, 31, 32, colijug1, 3, anima, 0, 1);
						if (x >= 320 - 32) {
							x = 0; // Restablece x para futuras ejecuciones
						}*/
						for(int x = 0; x < 80; x++){
							HAL_Delay(15);
							int anima = (x/35)%3;
							LCD_Sprite(sprite_x, sprite_y, 37, 37, caida1, 3, anima, 0, 1);
						}
						boom2 = 0;
					}
					//LCD_Bitmap(sprite_x, sprite_y, sprite_width, sprite_height, Jug1);
					LCD_Sprite(sprite_x, sprite_y, 34, 37, seleccionJug1, 2, anima1, 0, 1);
					FillRect(96, 219, 35, 10, 0xEDCC);
				}else if(colision2 == 3){
					if(boom2 == 1){
						for(int x = 0; x < 80; x++){
							HAL_Delay(15);
							int anima = (x/35)%3;
							LCD_Sprite(sprite_x, sprite_y, 37, 37, caida1, 3, anima, 0, 1);
						}
						boom2 = 0;
					}
					LCD_Sprite(sprite_x, sprite_y, 34, 37, seleccionJug1, 2, anima1, 0, 1);
					FillRect(61, 219, 35, 10, 0xEDCC);
				}else if(colision2 == 4){
					if(boom2 == 1){
						for(int x = 0; x < 80; x++){
							HAL_Delay(15);
							int anima = (x/35)%3;
							LCD_Sprite(sprite_x, sprite_y, 37, 37, caida1, 3, anima, 0, 1);
						}
						boom2 = 0;
					}
					LCD_Sprite(sprite_x, sprite_y, 34, 37, seleccionJug1, 2, anima1, 0, 1);
					FillRect(26, 219, 35, 10, 0xEDCC);
					loser1 = 1;
				}

				//Banderas de perdedores para cambio a podio
				if(loser1 == 1){
					//LCD_Print("Perdiste! JUG1 :(", 20, 100, 1, 0x001F, 0xCAB9);
					inicio = 4;
				}
				if(loser2 == 1){
					//LCD_Print("Perdiste! JUG2 :(", 20, 100, 1, 0x001F, 0xCAB9);
					inicio = 4;
				}

				//Movimiento Jug2
				if (received_char == 'g') {
					//move_blue_cube_up();  // Mover cubo azul hacia arriba
					//move_jug1_up();
					move_sprite_up();
					received_char = 0;  // Resetear el comando
					move1 = 0;
				}
				if (received_char == 'h') {
					//move_blue_cube_down();  // Mover cubo azul hacia abajo
					//move_jug1_down();
					move_sprite_down();
					received_char = 0;  // Resetear el comando
					move1 = 0;
				}

				//Movimiento Jug2
				if (received_char2 == 'i') {
					//move_green_cube_left();  // Mover cubo verde hacia la izquierda
					move_sprite_up1();

					received_char2 = 0;  // Resetear el comando
					move2 = 0;
				}
				if(received_char2 == 'j'){
					//move_green_cube_right();
					move_sprite_down1();

					received_char2 = 0;
					move2 = 0;
				}

				/*c++;
				int anima4 = (c / 2) % 2;
				LCD_Sprite(sprite_x1, sprite_y1, 34, 37, seleccionJug2, 2, anima4, 0, 1);

				m++;
				int anima2 = (m / 2) % 2;
				LCD_Sprite(sprite_x, sprite_y, 34, 37, seleccionJug1, 2, anima2, 0, 1);*/

				//Movimiento con comandos
				if(move2 != 1){
					c++;
					int anima4 = (c / 2) % 2;
					LCD_Sprite(sprite_x1, sprite_y1, 34, 37, seleccionJug2, 2, anima4, 0, 1);
				}
				if(move1 != 1){
					m++;
					int anima2 = (m / 2) % 2;
					LCD_Sprite(sprite_x, sprite_y, 34, 37, seleccionJug1, 2, anima2, 0, 1);
				}
				if(c == 20){
					c = 0;
				}else if(m == 20){
					m = 0;
				}
				break;
			case 1:
				if(pintjueg == 1){
					LCD_Clear(0x00A7);

					//             *       *

					LCD_Bitmap(25, 80, 63, 69, SELECTOROFF);

					//LCD_Bitmap(40, 90, 35, 38, buffer);
					LCD_Bitmap(40, 90, 35, 38, personaje1);

					//memset(buffer, '\0', 100); //Limpia el buffer

					LCD_Bitmap(95, 80, 63, 69, SELECTOROFF);
					LCD_Bitmap(110, 90, 35, 38, personaje2);

					LCD_Bitmap(165, 80, 63, 69, SELECTOROFF);
					LCD_Bitmap(180, 90, 35, 38, personaje3);

					LCD_Bitmap(235, 80, 63, 69, SELECTOROFF);
					LCD_Bitmap(250, 90, 35, 38, personaje4);

					//Añadiendo barra gris del selector del jugador
					LCD_Bitmap(25, 70, 63, 17, SELECTOROFFJ1);
					LCD_Bitmap(95, 70, 63, 17, SELECTOROFFJ1);
					LCD_Bitmap(165, 70, 63, 17, SELECTOROFFJ1);
					LCD_Bitmap(235, 70, 63, 17, SELECTOROFFJ1);

					//80+69-18 REFERENCIA PERSONAJE 1 (Poner la misma coordenada en x que SELECTOROFF del personaje)

					LCD_Bitmap(25, 70, 63, 17, SELECTORONJ1);

					//80+69-18 REFERENCIA PERSONAJE 4
					LCD_Bitmap(235, 131, 63, 17, SELECTORONJ2);

					LCD_Bitmap(60, 175, 200, 12, AVISOJUGADOR);

					pintjueg = 0;
				}
				if(received_char != new_command){
					mover_colores(received_char);
					new_command = received_char;
				}
				// Dependiendo de la posición del selector, se asigna la animación correspondiente
				if(received_char == 'a'){
					if (selector1_pos == 1) {
						seleccionJug1 = movjug1;
						caida1 = colisionjug1;
					} else if (selector1_pos == 2) {
						seleccionJug1 = movjug2;
						caida1 = colisionjug2;
					} else if (selector1_pos == 3) {
						seleccionJug1 = movjug3;
						caida1 = colisionjug3;
					} else if (selector1_pos == 4) {
						seleccionJug1 = movjug4;
						caida1 = colisionjug4;
					}

					if (selector2_pos == 1) {
						seleccionJug2 = movjug1;
						caida2 = colisionjug1;
					} else if (selector2_pos == 2) {
						seleccionJug2 = movjug2;
						caida2 = colisionjug2;
					} else if (selector2_pos == 3) {
						seleccionJug2 = movjug3;
						caida2 = colisionjug3;
					} else if (selector2_pos == 4) {
						seleccionJug2 = movjug4;
						caida2 = colisionjug4;
					}
					start = 1;
					received_char = 'o';
				}
				if(received_char == 'c'){
					start = 1;
					inicio = 5;
					received_char = 'o';
				}

				//Implementar lectura boton 'b' regreso a menu , start = 1, logica seria mover selectores JUG1 y JUG2 guardar selecciones para imprimir en juego
				break;
			case 2:
				if(pintjueg == 1){
					LCD_Clear(0xFFFF);
					sprintf(Pant, "Colisiones: %d", colision);
					LCD_Print(Pant, 20, 100, 1, 0x001F, 0xEDCC);
					pintjueg = 0;
				}

				break;
			case 4:
				if(loser2 == 1){
					//Podio ganador1
					LCD_Clear(0x0015);
					LCD_Bitmap(75, 85, 173, 119, podio);
					LCD_Bitmap(115, 10, 96, 84, trofeo);
					LCD_Bitmap(25, 205, 274, 25, aviso1);
					loser2 = 0;
					//inicio = 3;
				}
				if(loser1 == 1){
					//Podio ganador
					LCD_Clear(0x0015);
					LCD_Bitmap(75, 85, 173, 119, podio);
					LCD_Bitmap(115, 10, 96, 84, trofeo);
					LCD_Bitmap(25, 205, 274, 25, aviso2);
					loser1 = 0;
					//inicio = 3;
				}
				if(received_char == 'c'){
					start = 1;
					inicio = 5;
					received_char = 'o';
				}

				break;
			default:
				break;
		}

    /* USER CODE END WHILE */

	}
}

void SystemClock_Config(void)
{
  RCC_OscInitTypeDef RCC_OscInitStruct = {0};
  RCC_ClkInitTypeDef RCC_ClkInitStruct = {0};

  /** Configure the main internal regulator output voltage
  */
  __HAL_RCC_PWR_CLK_ENABLE();
  __HAL_PWR_VOLTAGESCALING_CONFIG(PWR_REGULATOR_VOLTAGE_SCALE3);

  /** Initializes the RCC Oscillators according to the specified parameters
  * in the RCC_OscInitTypeDef structure.
  */
  RCC_OscInitStruct.OscillatorType = RCC_OSCILLATORTYPE_HSI;
  RCC_OscInitStruct.HSIState = RCC_HSI_ON;
  RCC_OscInitStruct.HSICalibrationValue = RCC_HSICALIBRATION_DEFAULT;
  RCC_OscInitStruct.PLL.PLLState = RCC_PLL_ON;
  RCC_OscInitStruct.PLL.PLLSource = RCC_PLLSOURCE_HSI;
  RCC_OscInitStruct.PLL.PLLM = 8;
  RCC_OscInitStruct.PLL.PLLN = 80;
  RCC_OscInitStruct.PLL.PLLP = RCC_PLLP_DIV2;
  RCC_OscInitStruct.PLL.PLLQ = 2;
  RCC_OscInitStruct.PLL.PLLR = 2;
  if (HAL_RCC_OscConfig(&RCC_OscInitStruct) != HAL_OK)
  {
    Error_Handler();
  }

  /** Initializes the CPU, AHB and APB buses clocks
  */
  RCC_ClkInitStruct.ClockType = RCC_CLOCKTYPE_HCLK|RCC_CLOCKTYPE_SYSCLK
                              |RCC_CLOCKTYPE_PCLK1|RCC_CLOCKTYPE_PCLK2;
  RCC_ClkInitStruct.SYSCLKSource = RCC_SYSCLKSOURCE_PLLCLK;
  RCC_ClkInitStruct.AHBCLKDivider = RCC_SYSCLK_DIV1;
  RCC_ClkInitStruct.APB1CLKDivider = RCC_HCLK_DIV2;
  RCC_ClkInitStruct.APB2CLKDivider = RCC_HCLK_DIV1;

  if (HAL_RCC_ClockConfig(&RCC_ClkInitStruct, FLASH_LATENCY_2) != HAL_OK)
  {
    Error_Handler();
  }
}

static void MX_SPI1_Init(void)
{

  /* SPI1 parameter configuration*/
  hspi1.Instance = SPI1;
  hspi1.Init.Mode = SPI_MODE_MASTER;
  hspi1.Init.Direction = SPI_DIRECTION_2LINES;
  hspi1.Init.DataSize = SPI_DATASIZE_8BIT;
  hspi1.Init.CLKPolarity = SPI_POLARITY_LOW;
  hspi1.Init.CLKPhase = SPI_PHASE_1EDGE;
  hspi1.Init.NSS = SPI_NSS_SOFT;
  hspi1.Init.BaudRatePrescaler = SPI_BAUDRATEPRESCALER_2;
  hspi1.Init.FirstBit = SPI_FIRSTBIT_MSB;
  hspi1.Init.TIMode = SPI_TIMODE_DISABLE;
  hspi1.Init.CRCCalculation = SPI_CRCCALCULATION_DISABLE;
  hspi1.Init.CRCPolynomial = 10;
  if (HAL_SPI_Init(&hspi1) != HAL_OK)
  {
    Error_Handler();
  }

}

static void MX_UART5_Init(void)
{

  huart5.Instance = UART5;
  huart5.Init.BaudRate = 9600;
  huart5.Init.WordLength = UART_WORDLENGTH_8B;
  huart5.Init.StopBits = UART_STOPBITS_1;
  huart5.Init.Parity = UART_PARITY_NONE;
  huart5.Init.Mode = UART_MODE_TX_RX;
  huart5.Init.HwFlowCtl = UART_HWCONTROL_NONE;
  huart5.Init.OverSampling = UART_OVERSAMPLING_16;
  if (HAL_UART_Init(&huart5) != HAL_OK)
  {
    Error_Handler();
  }

}

static void MX_USART2_UART_Init(void)
{

  huart2.Instance = USART2;
  huart2.Init.BaudRate = 115200;
  huart2.Init.WordLength = UART_WORDLENGTH_8B;
  huart2.Init.StopBits = UART_STOPBITS_1;
  huart2.Init.Parity = UART_PARITY_NONE;
  huart2.Init.Mode = UART_MODE_RX;
  huart2.Init.HwFlowCtl = UART_HWCONTROL_NONE;
  huart2.Init.OverSampling = UART_OVERSAMPLING_16;
  if (HAL_UART_Init(&huart2) != HAL_OK)
  {
    Error_Handler();
  }

}

static void MX_USART3_UART_Init(void)
{

  huart3.Instance = USART3;
  huart3.Init.BaudRate = 9600;
  huart3.Init.WordLength = UART_WORDLENGTH_8B;
  huart3.Init.StopBits = UART_STOPBITS_1;
  huart3.Init.Parity = UART_PARITY_NONE;
  huart3.Init.Mode = UART_MODE_TX_RX;
  huart3.Init.HwFlowCtl = UART_HWCONTROL_NONE;
  huart3.Init.OverSampling = UART_OVERSAMPLING_16;
  if (HAL_UART_Init(&huart3) != HAL_OK)
  {
    Error_Handler();
  }

}

static void MX_DMA_Init(void)
{

  /* DMA controller clock enable */
  __HAL_RCC_DMA1_CLK_ENABLE();

  /* DMA interrupt init */
  /* DMA1_Stream0_IRQn interrupt configuration */
  HAL_NVIC_SetPriority(DMA1_Stream0_IRQn, 0, 0);
  HAL_NVIC_EnableIRQ(DMA1_Stream0_IRQn);
  /* DMA1_Stream1_IRQn interrupt configuration */
  HAL_NVIC_SetPriority(DMA1_Stream1_IRQn, 0, 0);
  HAL_NVIC_EnableIRQ(DMA1_Stream1_IRQn);
  /* DMA1_Stream5_IRQn interrupt configuration */
  HAL_NVIC_SetPriority(DMA1_Stream5_IRQn, 0, 0);
  HAL_NVIC_EnableIRQ(DMA1_Stream5_IRQn);

}

static void MX_GPIO_Init(void)
{
  GPIO_InitTypeDef GPIO_InitStruct = {0};

  /* GPIO Ports Clock Enable */
  __HAL_RCC_GPIOH_CLK_ENABLE();
  __HAL_RCC_GPIOC_CLK_ENABLE();
  __HAL_RCC_GPIOA_CLK_ENABLE();
  __HAL_RCC_GPIOB_CLK_ENABLE();
  __HAL_RCC_GPIOD_CLK_ENABLE();

  /*Configure GPIO pin Output Level */
  HAL_GPIO_WritePin(GPIOC, LCD_RST_Pin|LCD_D1_Pin, GPIO_PIN_RESET);

  /*Configure GPIO pin Output Level */
  HAL_GPIO_WritePin(GPIOA, LCD_RD_Pin|LCD_WR_Pin|LCD_RS_Pin|LCD_D7_Pin
                          |LCD_D0_Pin|LCD_D2_Pin, GPIO_PIN_RESET);

  /*Configure GPIO pin Output Level */
  HAL_GPIO_WritePin(GPIOB, LCD_CS_Pin|LCD_D6_Pin|LCD_D3_Pin|LCD_D5_Pin
                          |LCD_D4_Pin, GPIO_PIN_RESET);

  /*Configure GPIO pin Output Level */
  HAL_GPIO_WritePin(SD_SS_GPIO_Port, SD_SS_Pin, GPIO_PIN_SET);

  /*Configure GPIO pins : LCD_RST_Pin LCD_D1_Pin */
  GPIO_InitStruct.Pin = LCD_RST_Pin|LCD_D1_Pin;
  GPIO_InitStruct.Mode = GPIO_MODE_OUTPUT_PP;
  GPIO_InitStruct.Pull = GPIO_NOPULL;
  GPIO_InitStruct.Speed = GPIO_SPEED_FREQ_HIGH;
  HAL_GPIO_Init(GPIOC, &GPIO_InitStruct);

  /*Configure GPIO pins : LCD_RD_Pin LCD_WR_Pin LCD_RS_Pin LCD_D7_Pin
                           LCD_D0_Pin LCD_D2_Pin */
  GPIO_InitStruct.Pin = LCD_RD_Pin|LCD_WR_Pin|LCD_RS_Pin|LCD_D7_Pin
                          |LCD_D0_Pin|LCD_D2_Pin;
  GPIO_InitStruct.Mode = GPIO_MODE_OUTPUT_PP;
  GPIO_InitStruct.Pull = GPIO_NOPULL;
  GPIO_InitStruct.Speed = GPIO_SPEED_FREQ_HIGH;
  HAL_GPIO_Init(GPIOA, &GPIO_InitStruct);

  /*Configure GPIO pins : LCD_CS_Pin LCD_D6_Pin LCD_D3_Pin LCD_D5_Pin
                           LCD_D4_Pin */
  GPIO_InitStruct.Pin = LCD_CS_Pin|LCD_D6_Pin|LCD_D3_Pin|LCD_D5_Pin
                          |LCD_D4_Pin;
  GPIO_InitStruct.Mode = GPIO_MODE_OUTPUT_PP;
  GPIO_InitStruct.Pull = GPIO_NOPULL;
  GPIO_InitStruct.Speed = GPIO_SPEED_FREQ_HIGH;
  HAL_GPIO_Init(GPIOB, &GPIO_InitStruct);

  /*Configure GPIO pin : SD_SS_Pin */
  GPIO_InitStruct.Pin = SD_SS_Pin;
  GPIO_InitStruct.Mode = GPIO_MODE_OUTPUT_PP;
  GPIO_InitStruct.Pull = GPIO_NOPULL;
  GPIO_InitStruct.Speed = GPIO_SPEED_FREQ_MEDIUM;
  HAL_GPIO_Init(SD_SS_GPIO_Port, &GPIO_InitStruct);

}

/* USER CODE BEGIN 4 */

void HAL_UART_RxCpltCallback(UART_HandleTypeDef *huart)
{

	//HAL_UART_Receive_IT(&huart3, data, 1);
	if(huart->Instance == USART3){

		HAL_UART_Receive_DMA(&huart3, data, 1);
		received_char = data[0];
		move1 = 1;
	}

	if(huart->Instance == UART5){
		HAL_UART_Receive_DMA(&huart5, data2, 1);
		received_char2 = data2[0];
		move2 = 1;
	}

	if(huart->Instance == USART2){
		HAL_UART_Receive_DMA(&huart2, data, 1);
		//received_char2 = data2[0];
		received_char = data[0];
	}

}
/* USER CODE END 4 */

void Error_Handler(void)
{
	__disable_irq();
	while (1) {
	}
}
